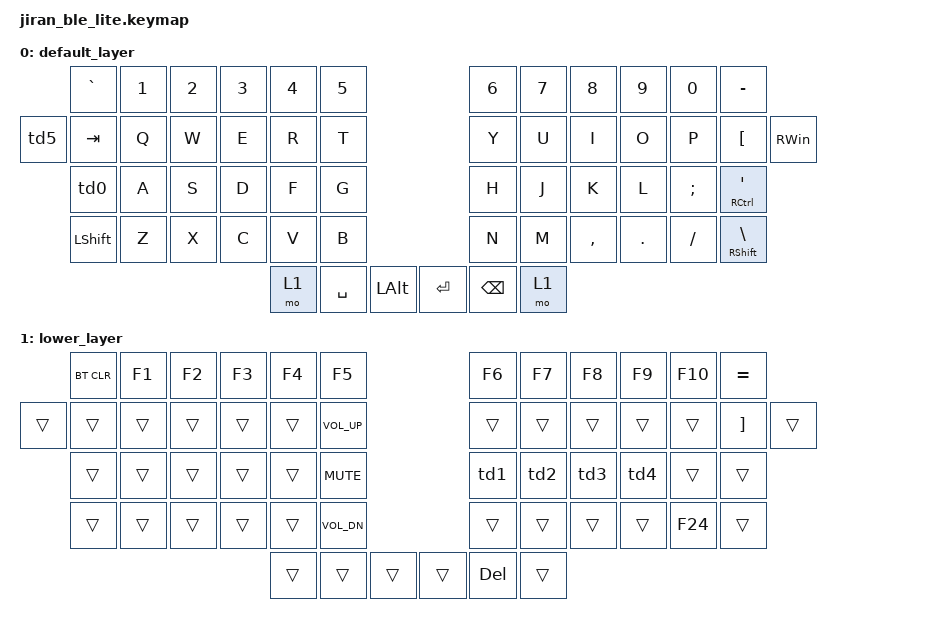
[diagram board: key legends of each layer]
/*
 * Copyright (c) 2021 The ZMK Contributors
 *
 * SPDX-License-Identifier: MIT
 */

#include <behaviors.dtsi>
#include <dt-bindings/zmk/keys.h>
#include <dt-bindings/zmk/bt.h>

/ {
      behaviors {
	td0: tap_dance_0 {
            compatible = "zmk,behavior-tap-dance";
            label = "TAP_DANCE_0";
            #binding-cells = <0>;
            tapping-term-ms = <200>;
            bindings = <&kp LCTRL>, <&kp ESC>;
        };
	td1: tap_dance_1 {
            compatible = "zmk,behavior-tap-dance";
            label = "TAP_DANCE_1";
            #binding-cells = <0>;
            tapping-term-ms = <150>;
            bindings = <&kp LEFT>, <&kp HOME>;
        };
	td2: tap_dance_2 {
            compatible = "zmk,behavior-tap-dance";
            label = "TAP_DANCE_2";
            #binding-cells = <0>;
            tapping-term-ms = <150>;
            bindings = <&kp DOWN>, <&kp PAGE_DOWN>;
        };
	td3: tap_dance_3 {
            compatible = "zmk,behavior-tap-dance";
            label = "TAP_DANCE_3";
            #binding-cells = <0>;
            tapping-term-ms = <150>;
            bindings = <&kp UP>, <&kp PAGE_UP>;
        };
	td4: tap_dance_4 {
            compatible = "zmk,behavior-tap-dance";
            label = "TAP_DANCE_4";
            #binding-cells = <0>;
            tapping-term-ms = <150>;
            bindings = <&kp RIGHT>, <&kp END>;
        };
	td5: tap_dance_5 {
            compatible = "zmk,behavior-tap-dance";
            label = "TAP_DANCE_5";
            #binding-cells = <0>;
            tapping-term-ms = <200>;
            bindings = <&kp LA(LS(N8))>, <&kp LA(LS(N9))>;
        };
    };

        keymap {
                compatible = "zmk,keymap";

                default_layer {
                        bindings = <
             &kp GRAVE   &kp N1  &kp N2  &kp N3  &kp N4  &kp N5                            &kp N6    &kp N7    &kp N8     &kp N9   &kp N0    &kp MINUS
       &td5  &kp TAB     &kp Q   &kp W   &kp E   &kp R   &kp T                             &kp Y     &kp U     &kp I      &kp O    &kp P     &kp LBKT         &kp RIGHT_WIN
             &td0        &kp A   &kp S   &kp D   &kp F   &kp G                             &kp H     &kp J     &kp K      &kp L    &kp SEMI  &mt RCTRL SQT
             &kp LSHIFT  &kp Z   &kp X   &kp C   &kp V   &kp B                             &kp N     &kp M     &kp COMMA  &kp DOT  &kp FSLH  &mt RSHIFT BSLH
                                                 &mo 1   &kp SPACE  &kp LALT      &kp RET  &kp BSPC  &mo 1
                        >;
                };

                lower_layer {
                       bindings = <
         &bt BT_CLR  &kp F1  &kp F2  &kp F3  &kp F4  &kp F5                            &kp F6    &kp F7  &kp F8  &kp F9     &kp F10  &kp EQUAL
 &trans  &trans      &trans  &trans  &trans  &trans  &kp C_VOL_UP                      &trans    &trans  &trans  &trans     &trans           &kp RBKT   &trans
         &trans      &trans  &trans  &trans  &trans  &kp C_MUTE                        &td1      &td2    &td3    &td4       &trans   &trans
         &trans      &trans  &trans  &trans  &trans  &kp C_VOL_DN                      &trans    &trans  &trans  &trans     &kp F24  &trans
                                             &trans  &trans        &trans      &trans  &kp DEL   &trans
                       >;
               };
        };
};
